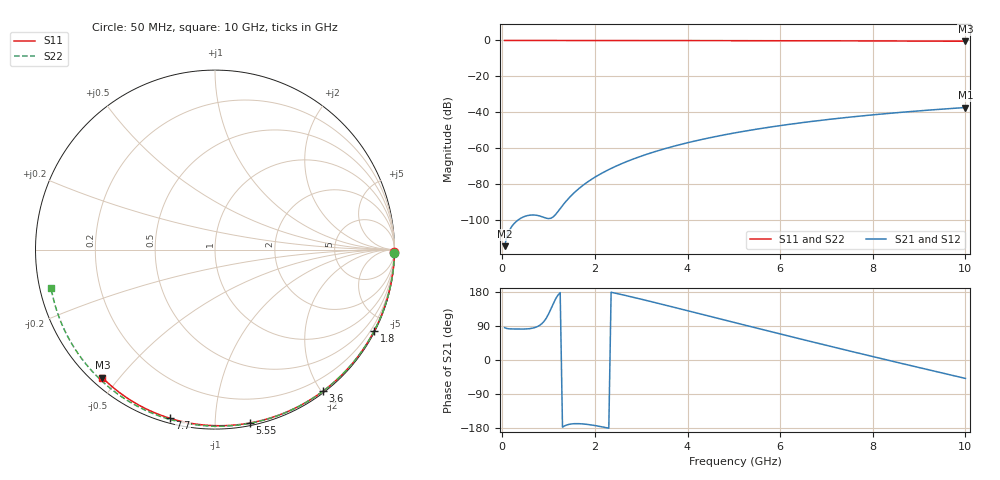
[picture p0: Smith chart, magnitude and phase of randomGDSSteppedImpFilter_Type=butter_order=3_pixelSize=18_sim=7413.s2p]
! freq	dB(S11)	phase(S11)	dB(S12)	phase(S12)
!  dB(S21)	phase(S21)	dB(S22)	phase(S22)
!S-par simulation data
#  GHz  S  DB  R 50
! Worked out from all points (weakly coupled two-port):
!   200 points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, 50 MHz to 10 GHz, reference 50 ohm
!   highest |S21| = -37.31 dB at 10 GHz (marker M1); lowest = -114.4 dB at 50 MHz (marker M2)
!   lowest |S11| = -0.4 dB at 10 GHz (marker M3), VSWR 39.16, Z = 1.54 - j22.6 ohm
!   |S11| at or under -10 dB: nowhere
!   |S22| runs from -0.6 to 0.0 dB; largest |S21 - S12| = 0
!   S11 on the Smith chart (normalised r, x): 50 MHz: open; 1.8 GHz: 0.04, -4.18; 3.6 GHz: 0.02, -2.02; 5.55 GHz: 0.02, -1.22; 7.7 GHz: 0.02, -0.77; 10 GHz: 0.03, -0.45
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0.05  -0.00 -0.8  -114.42 85.4  -114.42 85.4  -0.00 -1.0
0.45  -0.01 -6.8  -98.22 81.7  -98.22 81.7  -0.01 -8.6
0.85  -0.02 -12.8  -97.97 95.4  -97.97 95.4  -0.02 -16.2
1.3  -0.02 -19.5  -91.85 -177.1  -91.85 -177.1  -0.03 -24.7
1.75  -0.03 -26.2  -80.42 -168.8  -80.42 -168.8  -0.04 -33.1
1.8  -0.03 -26.9  -79.47 -169.4  -79.47 -169.4  -0.04 -34.0
1.95  -0.04 -29.1  -76.86 -171.9  -76.86 -171.9  -0.05 -36.8
2.1  -0.04 -31.3  -74.54 -175.1  -74.54 -175.1  -0.05 -39.5
2.3  -0.04 -34.2  -71.81 -180.0  -71.81 -180.0  -0.06 -43.1
2.5  -0.05 -37.1  -69.39 174.7  -69.39 174.7  -0.06 -46.8
2.9  -0.06 -42.8  -65.26 163.4  -65.26 163.4  -0.07 -53.9
3.4  -0.07 -49.8  -61.03 148.5  -61.03 148.5  -0.08 -62.7
3.6  -0.07 -52.6  -59.55 142.4  -59.55 142.4  -0.09 -66.1
4.3  -0.09 -62.2  -55.11 120.9  -55.11 120.9  -0.11 -78.0
5.05  -0.11 -72.1  -51.27 97.8  -51.27 97.8  -0.14 -90.3
5.55  -0.13 -78.6  -49.11 82.5  -49.11 82.5  -0.16 -98.3
6.1  -0.15 -85.6  -47.00 65.7  -47.00 65.7  -0.19 -106.9
6.7  -0.18 -93.0  -44.98 47.6  -44.98 47.6  -0.23 -116.2
7.7  -0.24 -105.0  -42.13 17.9  -42.13 17.9  -0.30 -131.4
8.35  -0.29 -112.5  -40.55 -1.2  -40.55 -1.2  -0.36 -141.2
9.2  -0.36 -122.3  -38.76 -25.7  -38.76 -25.7  -0.46 -154.3
10  -0.44 -131.3  -37.31 -48.6  -37.31 -48.6  -0.56 -166.8
